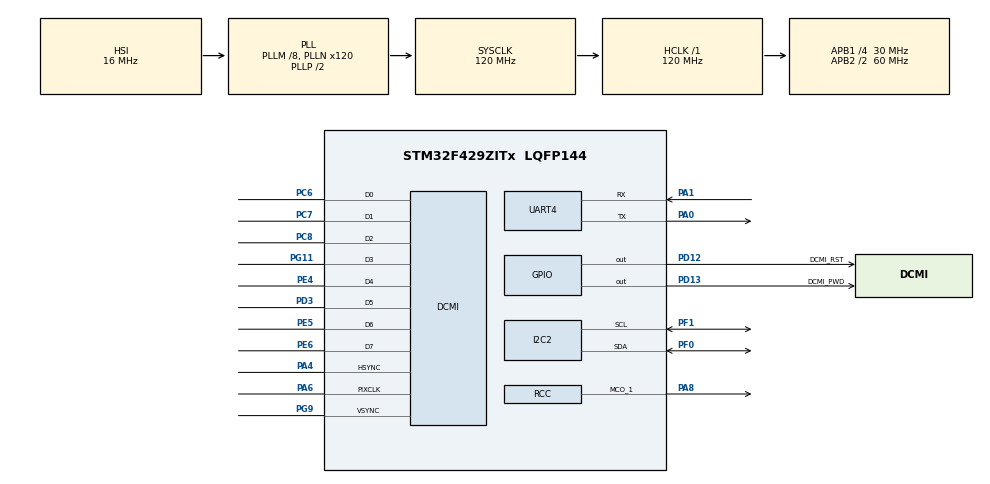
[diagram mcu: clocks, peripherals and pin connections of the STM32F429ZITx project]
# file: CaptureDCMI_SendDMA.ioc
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DCMI.VSPolarity=DCMI_VSPOLARITY_HIGH
Dma.DCMI.0.Direction=DMA_PERIPH_TO_MEMORY
Dma.DCMI.0.FIFOMode=DMA_FIFOMODE_ENABLE
Dma.DCMI.0.FIFOThreshold=DMA_FIFO_THRESHOLD_FULL
Dma.DCMI.0.Instance=DMA2_Stream1
Dma.DCMI.0.MemBurst=DMA_MBURST_SINGLE
Dma.DCMI.0.MemDataAlignment=DMA_MDATAALIGN_WORD
Dma.DCMI.0.MemInc=DMA_MINC_ENABLE
Dma.DCMI.0.Mode=DMA_NORMAL
Dma.DCMI.0.PeriphBurst=DMA_PBURST_SINGLE
Dma.DCMI.0.PeriphDataAlignment=DMA_PDATAALIGN_WORD
Dma.DCMI.0.PeriphInc=DMA_PINC_DISABLE
Dma.DCMI.0.Priority=DMA_PRIORITY_VERY_HIGH
Dma.Request0=DCMI
Dma.Request1=UART4_TX
Dma.UART4_TX.1.Direction=DMA_MEMORY_TO_PERIPH
Dma.UART4_TX.1.FIFOMode=DMA_FIFOMODE_ENABLE
Dma.UART4_TX.1.FIFOThreshold=DMA_FIFO_THRESHOLD_FULL
Dma.UART4_TX.1.Instance=DMA1_Stream4
Dma.UART4_TX.1.MemBurst=DMA_MBURST_SINGLE
Dma.UART4_TX.1.MemDataAlignment=DMA_MDATAALIGN_BYTE
Dma.UART4_TX.1.MemInc=DMA_MINC_ENABLE
Dma.UART4_TX.1.Mode=DMA_NORMAL
Dma.UART4_TX.1.PeriphBurst=DMA_PBURST_SINGLE
Dma.UART4_TX.1.PeriphDataAlignment=DMA_PDATAALIGN_BYTE
Dma.UART4_TX.1.PeriphInc=DMA_PINC_DISABLE
Dma.UART4_TX.1.Priority=DMA_PRIORITY_HIGH
Mcu.Family=STM32F4
Mcu.Name=STM32F429ZITx
Mcu.Package=LQFP144
NVIC.DCMI_IRQn=true\:0\:0\:false\:false\:true\:true\:true\:true
NVIC.DMA1_Stream4_IRQn=true\:0\:0\:false\:false\:true\:false\:true\:true
NVIC.DMA2_Stream1_IRQn=true\:0\:0\:false\:false\:true\:false\:true\:true
NVIC.PriorityGroup=NVIC_PRIORITYGROUP_4
NVIC.UART4_IRQn=true\:0\:0\:false\:false\:true\:true\:true\:true
PA0/WKUP.Mode=Asynchronous
PA0/WKUP.Signal=UART4_TX
PA1.Mode=Asynchronous
PA1.Signal=UART4_RX
PA4.Mode=Slave_8_bits_External_Synchro
PA4.Signal=DCMI_HSYNC
PA6.Mode=Slave_8_bits_External_Synchro
PA6.Signal=DCMI_PIXCLK
PA8.Mode=Clock-out-1
PA8.Signal=RCC_MCO_1
PC6.Mode=Slave_8_bits_External_Synchro
PC6.Signal=DCMI_D0
PC7.Mode=Slave_8_bits_External_Synchro
PC7.Signal=DCMI_D1
PC8.Mode=Slave_8_bits_External_Synchro
PC8.Signal=DCMI_D2
PD12.GPIO_Label=DCMI_RST
PD12.Signal=GPIO_Output
PD13.GPIO_Label=DCMI_PWD
PD13.Signal=GPIO_Output
PD3.Mode=Slave_8_bits_External_Synchro
PD3.Signal=DCMI_D5
PE4.Mode=Slave_8_bits_External_Synchro
PE4.Signal=DCMI_D4
PE5.Mode=Slave_8_bits_External_Synchro
PE5.Signal=DCMI_D6
PE6.Mode=Slave_8_bits_External_Synchro
PE6.Signal=DCMI_D7
PF0.Mode=I2C
PF0.Signal=I2C2_SDA
PF1.Mode=I2C
PF1.Signal=I2C2_SCL
PG11.Mode=Slave_8_bits_External_Synchro
PG11.Signal=DCMI_D3
PG9.Mode=Slave_8_bits_External_Synchro
PG9.Signal=DCMI_VSYNC
PH0/OSC_IN.Mode=HSE-External-Oscillator
PH0/OSC_IN.Signal=RCC_OSC_IN
PH1/OSC_OUT.Mode=HSE-External-Oscillator
PH1/OSC_OUT.Signal=RCC_OSC_OUT
ProjectManager.HeapSize=0x200
ProjectManager.StackSize=0x400
ProjectManager.TargetToolchain=STM32CubeIDE
RCC.48MHZClocksFreq_Value=60000000
RCC.AHBFreq_Value=120000000
RCC.APB1CLKDivider=RCC_HCLK_DIV4
RCC.APB1Freq_Value=30000000
RCC.APB1TimFreq_Value=60000000
RCC.APB2CLKDivider=RCC_HCLK_DIV2
RCC.APB2Freq_Value=60000000
RCC.APB2TimFreq_Value=120000000
RCC.CortexFreq_Value=120000000
RCC.HCLKFreq_Value=120000000
RCC.HSE_VALUE=25000000
RCC.HSI_VALUE=16000000
RCC.LSE_VALUE=32768
RCC.PLLM=8
RCC.PLLN=120
RCC.RCC_MCO1Source=RCC_MCO1SOURCE_PLLCLK
RCC.RCC_MCODiv1=RCC_MCODIV_5
RCC.SYSCLKFreq_VALUE=120000000
RCC.SYSCLKSource=RCC_SYSCLKSOURCE_PLLCLK
RCC.VCOOutputFreq_Value=240000000
UART4.VirtualMode=Asynchronous
board=custom

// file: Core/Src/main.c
/* USER CODE BEGIN Header */
/**
  ******************************************************************************
  * @file           : main.c
  * @brief          : Main program body
  ******************************************************************************
  * @attention
  *
  * Copyright (c) 2022 STMicroelectronics.
  * All rights reserved.
  *
  * This software is licensed under terms that can be found in the LICENSE file
  * in the root directory of this software component.
  * If no LICENSE file comes with this software, it is provided AS-IS.
  *
  ******************************************************************************
  */
/* USER CODE END Header */
#include "main.h"

/* USER CODE BEGIN Includes */

#define REG_BATT 0xFF
const uint8_t OV7670_reg[][2] = {
	 {0x12, 0x14},   // QVGA, RGB
	  {0x8C, 0x00},   // RGB444 Disable
	  {0x40, 0x10 + 0xc0},   // RGB565, 00 - FF
	  {0x3A, 0x04 + 8},   // UYVY (why?)
	  {0x3D, 0x80 + 0x00},   // gamma enable, UV auto adjust, UYVY
	  {0xB0, 0x84}, // important

	  /* clock related */
	  {0x0C, 0x04},  // DCW enable
	  {0x3E, 0x19},  // manual scaling, pclk/=2
	  {0x70, 0x4A},  // scaling_xsc
	  {0x71, 0x35},  // scaling_ysc
	  {0x72, 0x11}, // down sample by 2
	  {0x73, 0xf1}, // DSP clock /= 2

	  /* windowing (empirically decided...) */
	  {0x17, 0x16},   // HSTART
	  {0x18, 0x04},   // HSTOP
	  {0x32, 0x80},   // HREF
	  {0x19, 0x03},   // VSTART =  14 ( = 3 * 4 + 2)
	  {0x1a, 0x7b},   // VSTOP  = 494 ( = 123 * 4 + 2)
	  {0x03, 0x0a},   // VREF (VSTART_LOW = 2, VSTOP_LOW = 2)

	  /* color matrix coefficient */
	#if 0
	  {0x4f, 0xb3},
	  {0x50, 0xb3},
	  {0x51, 0x00},
	  {0x52, 0x3d},
	  {0x53, 0xa7},
	  {0x54, 0xe4},
	  {0x58, 0x9e},
	#else
	  {0x4f, 0x80},
	  {0x50, 0x80},
	  {0x51, 0x00},
	  {0x52, 0x22},
	  {0x53, 0x5e},
	  {0x54, 0x80},
	  {0x58, 0x9e},
	#endif

	  /* 3a */
	//  {0x13, 0x84},
	//  {0x14, 0x0a},   // AGC Ceiling = 2x
	//  {0x5F, 0x2f},   // AWB B Gain Range (empirically decided)
	//                  // without this bright scene becomes yellow (purple). might be because of color matrix
	//  {0x60, 0x98},   // AWB R Gain Range (empirically decided)
	//  {0x61, 0x70},   // AWB G Gain Range (empirically decided)
	  {0x41, 0x38},   // edge enhancement, de-noise, AWG gain enabled

	  /* gamma curve */
	#if 1
	  {0x7b, 16},
	  {0x7c, 30},
	  {0x7d, 53},
	  {0x7e, 90},
	  {0x7f, 105},
	  {0x80, 118},
	  {0x81, 130},
	  {0x82, 140},
	  {0x83, 150},
	  {0x84, 160},
	  {0x85, 180},
	  {0x86, 195},
	  {0x87, 215},
	  {0x88, 230},
	  {0x89, 244},
	  {0x7a, 16},
	#else
	  /* gamma = 1 */
	  {0x7b, 4},
	  {0x7c, 8},
	  {0x7d, 16},
	  {0x7e, 32},
	  {0x7f, 40},
	  {0x80, 48},
	  {0x81, 56},
	  {0x82, 64},
	  {0x83, 72},
	  {0x84, 80},
	  {0x85, 96},
	  {0x86, 112},
	  {0x87, 144},
	  {0x88, 176},
	  {0x89, 208},
	  {0x7a, 64},
	#endif

	  /* fps */
	//  {0x6B, 0x4a}, //PLL  x4
	  {0x11, 0x00}, // pre-scalar = 1/1

	  /* others */
	  {0x1E, 0x31}, //mirror flip
	//  {0x42, 0x08}, // color bar

	{REG_BATT, REG_BATT},
};

static const uint8_t DevAdrr_T = 0x42;
static const uint8_t DevAdrr_R = 0x43;

#define OV7670_QVGA_WIDTH  320   // 65000
#define OV7670_QVGA_HEIGHT 240
#define CAMERA_FRAME_BUFFER_SIZE 38400  // (320 * 240 / 2 = 38400)
#define NEXT_ADDRESS 9600  // 38400/4

/* USER CODE END Includes */

DCMI_HandleTypeDef hdcmi;
DMA_HandleTypeDef hdma_dcmi;

I2C_HandleTypeDef hi2c2;

UART_HandleTypeDef huart4;
DMA_HandleTypeDef hdma_uart4_tx;

void SystemClock_Config(void);
static void MX_GPIO_Init(void);
static void MX_DMA_Init(void);
static void MX_DCMI_Init(void);
static void MX_I2C2_Init(void);
static void MX_UART4_Init(void);
/* USER CODE BEGIN PFP */

// My functions are here
int ov7670_read(uint8_t regAddr, uint8_t *data)
{
    if(HAL_I2C_Master_Transmit(&hi2c2, DevAdrr_T, &regAddr, 1, 100) == HAL_OK){
    	if(HAL_I2C_Master_Receive(&hi2c2, DevAdrr_R, data, 1, 100) == HAL_OK)
    		return 1;
    	else {
    		HAL_UART_Transmit(&huart4,(uint8_t*) "ov7670_read - You can transmit, but you cannot receive \r\n", sizeof("ov7670_read - You can transmit, but you cannot receive \r\n"), 20);
    		return 0;
    	}
    } else {
    	HAL_UART_Transmit(&huart4,(uint8_t*) "ov7670_read - You cannot even transmit. \r\n", sizeof("ov7670_read - You cannot even transmit. \r\n"), 20);
    	return 0;
    }

}

int ov7670_write(uint8_t regAddr, uint8_t data)
{
  if(HAL_I2C_Mem_Write(&hi2c2, DevAdrr_T, regAddr, I2C_MEMADD_SIZE_8BIT, &data, 1, 100) == HAL_OK)
	  return 1;
  else{
	  HAL_UART_Transmit(&huart4,(uint8_t*) "ov7670_write has FAILED \r\n", sizeof("ov7670_write has FAILED \r\n"), 20);
	  return 0;
  };
}

int ov7670_init()
{
  if(ov7670_write(0x12, 0x80)){   // Resets the camera
	  HAL_Delay(50);
	  HAL_UART_Transmit(&huart4,(uint8_t*) "ov7670_init - RESET Operation of the Camera is completed. \r\n", sizeof("ov7670_init - RESET Operation of the Camera is completed. \r\n"), 20);
	  return 1;
  } else{
	  HAL_UART_Transmit(&huart4, (uint8_t*) "ov7670_init - RESET operation is FAILED. \r\n", sizeof("ov7670_init - RESET operation is FAILED. \r\n"), 20);
	  return 0;
  }
}

int ov7670_config()
{
  char aTxBuffer[1] = {0xAA};
  if(HAL_DCMI_Stop(&hdcmi) != HAL_OK){     // ?????????????????
	  HAL_UART_Transmit(&huart4,(uint8_t*) "ov7670_config - HAL_DCMI_Stop FAILED. \r\n", sizeof("ov7670_config - HAL_DCMI_Stop FAILED. \r\n"), 20);
	  return 0;
  } else if(ov7670_write(0x12, 0x80) != 1)  {  // RESET
	  HAL_UART_Transmit(&huart4,(uint8_t*) "ov7670_config - RESET FAILED. \r\n", sizeof("ov7670_config - RESET FAILED. \r\n"), 20);
	  return 0;
  } else{
	  ;
  }

  for(int i = 0; OV7670_reg[i][0] != REG_BATT; i++) {
	HAL_Delay(10);
    if(ov7670_write(OV7670_reg[i][0], OV7670_reg[i][1]) != 1){
    	HAL_Delay(1);
    	HAL_UART_Transmit(&huart4,(uint8_t*) "ov7670_config has FAILED when i = ", sizeof("ov7670_config has FAILED when i = "), 20);
    	HAL_UART_Transmit(&huart4, (uint8_t*)aTxBuffer, sprintf(aTxBuffer, "%d", i), 20);
    	HAL_UART_Transmit(&huart4, (uint8_t*) "\r\n", 2, 20);
    	return 0;
    }
  }
  return 1;
}
/* USER CODE END PFP */

int main(void)
{

  /* MCU Configuration--------------------------------------------------------*/

  /* Reset of all peripherals, Initializes the Flash interface and the Systick. */
  HAL_Init();

  /* Configure the system clock */
  SystemClock_Config();

  /* Initialize all configured peripherals */
  MX_GPIO_Init();
  MX_DMA_Init();
  MX_DCMI_Init();
  MX_I2C2_Init();
  MX_UART4_Init();

  /* Infinite loop */
  /* USER CODE BEGIN WHILE */

  // Arrange the RESET and PWDN pins
  HAL_GPIO_WritePin(DCMI_RST_GPIO_Port, DCMI_RST_Pin, SET);
  HAL_GPIO_WritePin(DCMI_PWD_GPIO_Port, DCMI_PWD_Pin, RESET);
  HAL_Delay(10);
  // Read the address of the I2C Channel
  if(HAL_I2C_IsDeviceReady(&hi2c2, DevAdrr_T, 3, 100) != HAL_OK){
	  HAL_UART_Transmit(&huart4,(uint8_t*) "FAIL - Transmit address is NOT ready \r\n", sizeof("FAIL - Transmit address is not READY \r\n"), 20);
	  return 0;
  }

  if(HAL_I2C_IsDeviceReady(&hi2c2, DevAdrr_R, 3, 100) != HAL_OK){
	  HAL_UART_Transmit(&huart4,(uint8_t*) "FAIL - Receive address is NOT ready \r\n", sizeof("FAIL - Receive address is not READY \r\n"), 20);
	  return 0;
  }

	// Initialization
	ov7670_init();

	// Camera Configuration
	if(ov7670_config())
		HAL_UART_Transmit(&huart4, (uint8_t*) "Configuration is completed with success \r\n", sizeof("Configuration is completed with success \r\n"), 20);

	HAL_Delay(500);

	uint32_t cameraBuffer[CAMERA_FRAME_BUFFER_SIZE] = {0};
  	uint16_t start_bit = 0xBEBE;
  	uint16_t stop_bit = 0xDEDE;

  while (1)
  {

	   memset(cameraBuffer, 0xCE, CAMERA_FRAME_BUFFER_SIZE*4);

	   if(HAL_DCMI_Start_DMA(&hdcmi, DCMI_MODE_SNAPSHOT, cameraBuffer, CAMERA_FRAME_BUFFER_SIZE) != HAL_OK){
		   HAL_UART_Transmit(&huart4,(uint8_t *) "DCMI_Start_Failed \r\n", sizeof("DCMI_Start_Failed \r\n"), 20);
			return 0;
		}

		HAL_Delay(500);

		HAL_DCMI_Suspend(&hdcmi);
		HAL_Delay(10);
		HAL_DCMI_Stop(&hdcmi);

		HAL_Delay(10);

		HAL_UART_Transmit(&huart4,(uint8_t *) &start_bit, 2, 20);
		HAL_Delay(1);
		HAL_UART_Transmit(&huart4, cameraBuffer, CAMERA_FRAME_BUFFER_SIZE, HAL_MAX_DELAY);
	    HAL_Delay(5);
	    HAL_UART_Transmit(&huart4, cameraBuffer+NEXT_ADDRESS, CAMERA_FRAME_BUFFER_SIZE, HAL_MAX_DELAY);
	    HAL_Delay(5);
	    HAL_UART_Transmit(&huart4, cameraBuffer+2*NEXT_ADDRESS, CAMERA_FRAME_BUFFER_SIZE, HAL_MAX_DELAY);
	    HAL_Delay(5);
	    HAL_UART_Transmit(&huart4, cameraBuffer+3*NEXT_ADDRESS, CAMERA_FRAME_BUFFER_SIZE, HAL_MAX_DELAY);
	    HAL_Delay(5);
	    HAL_UART_Transmit(&huart4,(uint8_t *) &stop_bit, 2, 20);
	    HAL_Delay(1);

    /* USER CODE END WHILE */

  }
}

void SystemClock_Config(void)
{
  RCC_OscInitTypeDef RCC_OscInitStruct = {0};
  RCC_ClkInitTypeDef RCC_ClkInitStruct = {0};

  /** Configure the main internal regulator output voltage
  */
  __HAL_RCC_PWR_CLK_ENABLE();
  __HAL_PWR_VOLTAGESCALING_CONFIG(PWR_REGULATOR_VOLTAGE_SCALE3);

  /** Initializes the RCC Oscillators according to the specified parameters
  * in the RCC_OscInitTypeDef structure.
  */
  RCC_OscInitStruct.OscillatorType = RCC_OSCILLATORTYPE_HSI;
  RCC_OscInitStruct.HSIState = RCC_HSI_ON;
  RCC_OscInitStruct.HSICalibrationValue = RCC_HSICALIBRATION_DEFAULT;
  RCC_OscInitStruct.PLL.PLLState = RCC_PLL_ON;
  RCC_OscInitStruct.PLL.PLLSource = RCC_PLLSOURCE_HSI;
  RCC_OscInitStruct.PLL.PLLM = 8;
  RCC_OscInitStruct.PLL.PLLN = 120;
  RCC_OscInitStruct.PLL.PLLP = RCC_PLLP_DIV2;
  RCC_OscInitStruct.PLL.PLLQ = 4;
  if (HAL_RCC_OscConfig(&RCC_OscInitStruct) != HAL_OK)
  {
    Error_Handler();
  }

  /** Initializes the CPU, AHB and APB buses clocks
  */
  RCC_ClkInitStruct.ClockType = RCC_CLOCKTYPE_HCLK|RCC_CLOCKTYPE_SYSCLK
                              |RCC_CLOCKTYPE_PCLK1|RCC_CLOCKTYPE_PCLK2;
  RCC_ClkInitStruct.SYSCLKSource = RCC_SYSCLKSOURCE_PLLCLK;
  RCC_ClkInitStruct.AHBCLKDivider = RCC_SYSCLK_DIV1;
  RCC_ClkInitStruct.APB1CLKDivider = RCC_HCLK_DIV4;
  RCC_ClkInitStruct.APB2CLKDivider = RCC_HCLK_DIV2;

  if (HAL_RCC_ClockConfig(&RCC_ClkInitStruct, FLASH_LATENCY_3) != HAL_OK)
  {
    Error_Handler();
  }
  HAL_RCC_MCOConfig(RCC_MCO1, RCC_MCO1SOURCE_PLLCLK, RCC_MCODIV_5);
}

static void MX_DCMI_Init(void)
{

  hdcmi.Instance = DCMI;
  hdcmi.Init.SynchroMode = DCMI_SYNCHRO_HARDWARE;
  hdcmi.Init.PCKPolarity = DCMI_PCKPOLARITY_FALLING;
  hdcmi.Init.VSPolarity = DCMI_VSPOLARITY_HIGH;
  hdcmi.Init.HSPolarity = DCMI_HSPOLARITY_LOW;
  hdcmi.Init.CaptureRate = DCMI_CR_ALL_FRAME;
  hdcmi.Init.ExtendedDataMode = DCMI_EXTEND_DATA_8B;
  hdcmi.Init.JPEGMode = DCMI_JPEG_DISABLE;
  if (HAL_DCMI_Init(&hdcmi) != HAL_OK)
  {
    Error_Handler();
  }

}

static void MX_I2C2_Init(void)
{

  hi2c2.Instance = I2C2;
  hi2c2.Init.ClockSpeed = 100000;
  hi2c2.Init.DutyCycle = I2C_DUTYCYCLE_2;
  hi2c2.Init.OwnAddress1 = 0;
  hi2c2.Init.AddressingMode = I2C_ADDRESSINGMODE_7BIT;
  hi2c2.Init.DualAddressMode = I2C_DUALADDRESS_DISABLE;
  hi2c2.Init.OwnAddress2 = 0;
  hi2c2.Init.GeneralCallMode = I2C_GENERALCALL_DISABLE;
  hi2c2.Init.NoStretchMode = I2C_NOSTRETCH_DISABLE;
  if (HAL_I2C_Init(&hi2c2) != HAL_OK)
  {
    Error_Handler();
  }

  /** Configure Analogue filter
  */
  if (HAL_I2CEx_ConfigAnalogFilter(&hi2c2, I2C_ANALOGFILTER_ENABLE) != HAL_OK)
  {
    Error_Handler();
  }

  /** Configure Digital filter
  */
  if (HAL_I2CEx_ConfigDigitalFilter(&hi2c2, 0) != HAL_OK)
  {
    Error_Handler();
  }

}

static void MX_UART4_Init(void)
{

  huart4.Instance = UART4;
  huart4.Init.BaudRate = 115200;
  huart4.Init.WordLength = UART_WORDLENGTH_8B;
  huart4.Init.StopBits = UART_STOPBITS_1;
  huart4.Init.Parity = UART_PARITY_NONE;
  huart4.Init.Mode = UART_MODE_TX_RX;
  huart4.Init.HwFlowCtl = UART_HWCONTROL_NONE;
  huart4.Init.OverSampling = UART_OVERSAMPLING_16;
  if (HAL_UART_Init(&huart4) != HAL_OK)
  {
    Error_Handler();
  }

}

static void MX_DMA_Init(void)
{

  /* DMA controller clock enable */
  __HAL_RCC_DMA2_CLK_ENABLE();
  __HAL_RCC_DMA1_CLK_ENABLE();

  /* DMA interrupt init */
  /* DMA1_Stream4_IRQn interrupt configuration */
  HAL_NVIC_SetPriority(DMA1_Stream4_IRQn, 0, 0);
  HAL_NVIC_EnableIRQ(DMA1_Stream4_IRQn);
  /* DMA2_Stream1_IRQn interrupt configuration */
  HAL_NVIC_SetPriority(DMA2_Stream1_IRQn, 0, 0);
  HAL_NVIC_EnableIRQ(DMA2_Stream1_IRQn);

}

static void MX_GPIO_Init(void)
{
  GPIO_InitTypeDef GPIO_InitStruct = {0};

  /* GPIO Ports Clock Enable */
  __HAL_RCC_GPIOE_CLK_ENABLE();
  __HAL_RCC_GPIOF_CLK_ENABLE();
  __HAL_RCC_GPIOH_CLK_ENABLE();
  __HAL_RCC_GPIOA_CLK_ENABLE();
  __HAL_RCC_GPIOD_CLK_ENABLE();
  __HAL_RCC_GPIOC_CLK_ENABLE();
  __HAL_RCC_GPIOG_CLK_ENABLE();

  /*Configure GPIO pin Output Level */
  HAL_GPIO_WritePin(GPIOD, DCMI_RST_Pin|DCMI_PWD_Pin, GPIO_PIN_RESET);

  /*Configure GPIO pins : DCMI_RST_Pin DCMI_PWD_Pin */
  GPIO_InitStruct.Pin = DCMI_RST_Pin|DCMI_PWD_Pin;
  GPIO_InitStruct.Mode = GPIO_MODE_OUTPUT_PP;
  GPIO_InitStruct.Pull = GPIO_NOPULL;
  GPIO_InitStruct.Speed = GPIO_SPEED_FREQ_LOW;
  HAL_GPIO_Init(GPIOD, &GPIO_InitStruct);

  /*Configure GPIO pin : PA8 */
  GPIO_InitStruct.Pin = GPIO_PIN_8;
  GPIO_InitStruct.Mode = GPIO_MODE_AF_PP;
  GPIO_InitStruct.Pull = GPIO_NOPULL;
  GPIO_InitStruct.Speed = GPIO_SPEED_FREQ_LOW;
  GPIO_InitStruct.Alternate = GPIO_AF0_MCO;
  HAL_GPIO_Init(GPIOA, &GPIO_InitStruct);

}

void Error_Handler(void)
{
  __disable_irq();
  while (1)
  {
  }
}
